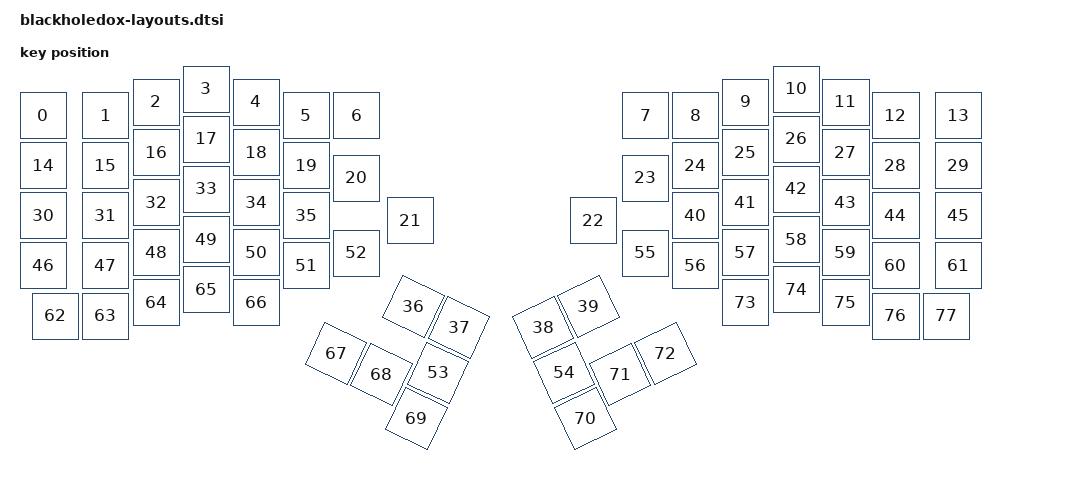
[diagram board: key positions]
// See https://zmk.dev/docs/development/hardware-integration/physical-layouts
// https://zmk-physical-layout-converter.streamlit.app/?layout=H4sIAAAAAAACA42VwY7TQAyG7_sUUc_LaDyeGXu4cUfiAgeEOHBHQiqsxKrqu-OkbeJ07ZpTm-jrX4_9xTk9TdPh54_XXy9_fh_eTye5lBsfP3z99OXzer0icufb9c40nabDX7mRU36eDq_Lt1b6dH6-JyCVhgFThOkrUzoaDAozViYbRJVfQpDS5H4NqunC9OhUJeVWIggFipiqGbtoaMI8Pjv0lKMOAmnGKYdTNKxt5CDECEbuMXrkMDc8GDmknDEYupejh-7Vo4cOidhAKGHlK1JSx2IdHdbuuIhWx_krbY7b5aoZ--Q7c7wWanfcINKMU9Dmjodk1Z1md0e54zHaHfneOXBHGp5b4I6Xo93x6qFUbzE14TyT40y35bDHCzFm4nhB2CpGmge8phChEcOJF2bJkcrIHOfWZJ3zTgcJ0_4jZ2R-e659EKSaOTiattmde9WMPYudzd5Qtc1uEGnGKWiz2UO2RqMQNbDZY7TNYi1BYLM0M3Ngs5ejbfbq0ZtQcriaxvO4TaulzsWUFccqWU_AxZasFjSS7nUdC_U4Sy9Wr3Ltoju1qhm7kzsXvZFoF90g0oxT0Oaih8hLv21LqCEFNnqMtlGMohrYKK0CCGz0clrivllUeBgW9YRdrSpi--VNVNcgAjRXcFmYq0IF0N7kdKu6p3ZZ2m93Oa3LXIY3wPaaKxlJ99sTF-pxlrxNq3W8fZbYX8MDClUbGj2_zxoNo67rx8Qb8e4x8VzRj4kbRJpx_GZhaA9dme_L53x1fjr_AwnYpfX3DAAA
// for how to configure this.
#include <physical_layouts.dtsi>

/ {
    physical_layout0: physical_layout_0 {
        compatible = "zmk,physical-layout";
        display-name = "LAYOUT";

        kscan = <&kscan0>;
        transform = <&matrix_transform0>;

        keys  //                     w   h    x    y     rot    rx    ry
            = <&key_physical_attrs 100 100    0   53       0     0     0>
            , <&key_physical_attrs 100 100  125   53       0     0     0>
            , <&key_physical_attrs 100 100  226   26       0     0     0>
            , <&key_physical_attrs 100 100  326    0       0     0     0>
            , <&key_physical_attrs 100 100  426   26       0     0     0>
            , <&key_physical_attrs 100 100  526   53       0     0     0>
            , <&key_physical_attrs 100 100  627   53       0     0     0>
            , <&key_physical_attrs 100 100 1205   53       0     0     0>
            , <&key_physical_attrs 100 100 1305   53       0     0     0>
            , <&key_physical_attrs 100 100 1405   26       0     0     0>
            , <&key_physical_attrs 100 100 1506    0       0     0     0>
            , <&key_physical_attrs 100 100 1606   26       0     0     0>
            , <&key_physical_attrs 100 100 1706   53       0     0     0>
            , <&key_physical_attrs 100 100 1830   53       0     0     0>
            , <&key_physical_attrs 100 100    0  153       0     0     0>
            , <&key_physical_attrs 100 100  125  153       0     0     0>
            , <&key_physical_attrs 100 100  226  127       0     0     0>
            , <&key_physical_attrs 100 100  326  100       0     0     0>
            , <&key_physical_attrs 100 100  426  127       0     0     0>
            , <&key_physical_attrs 100 100  526  153       0     0     0>
            , <&key_physical_attrs 100 100  627  178       0     0     0>
            , <&key_physical_attrs 100 100  735  263       0     0     0>
            , <&key_physical_attrs 100 100 1100  263       0     0     0>
            , <&key_physical_attrs 100 100 1205  178       0     0     0>
            , <&key_physical_attrs 100 100 1305  153       0     0     0>
            , <&key_physical_attrs 100 100 1405  127       0     0     0>
            , <&key_physical_attrs 100 100 1506  100       0     0     0>
            , <&key_physical_attrs 100 100 1606  127       0     0     0>
            , <&key_physical_attrs 100 100 1706  153       0     0     0>
            , <&key_physical_attrs 100 100 1830  153       0     0     0>
            , <&key_physical_attrs 100 100    0  253       0     0     0>
            , <&key_physical_attrs 100 100  125  253       0     0     0>
            , <&key_physical_attrs 100 100  226  227       0     0     0>
            , <&key_physical_attrs 100 100  326  200       0     0     0>
            , <&key_physical_attrs 100 100  426  227       0     0     0>
            , <&key_physical_attrs 100 100  526  253       0     0     0>
            , <&key_physical_attrs 100 100  741  435    2500   791   485>
            , <&key_physical_attrs 100 100  832  477    2500   882   527>
            , <&key_physical_attrs 100 100 1000  477 (-2500)  1050   527>
            , <&key_physical_attrs 100 100 1091  435 (-2500)  1141   485>
            , <&key_physical_attrs 100 100 1305  253       0     0     0>
            , <&key_physical_attrs 100 100 1405  227       0     0     0>
            , <&key_physical_attrs 100 100 1506  200       0     0     0>
            , <&key_physical_attrs 100 100 1606  227       0     0     0>
            , <&key_physical_attrs 100 100 1706  253       0     0     0>
            , <&key_physical_attrs 100 100 1830  253       0     0     0>
            , <&key_physical_attrs 100 100    0  353       0     0     0>
            , <&key_physical_attrs 100 100  125  353       0     0     0>
            , <&key_physical_attrs 100 100  226  327       0     0     0>
            , <&key_physical_attrs 100 100  326  301       0     0     0>
            , <&key_physical_attrs 100 100  426  327       0     0     0>
            , <&key_physical_attrs 100 100  526  353       0     0     0>
            , <&key_physical_attrs 100 100  627  328       0     0     0>
            , <&key_physical_attrs 100 100  790  568    2500   840   618>
            , <&key_physical_attrs 100 100 1042  568 (-2500)  1092   618>
            , <&key_physical_attrs 100 100 1205  328       0     0     0>
            , <&key_physical_attrs 100 100 1305  353       0     0     0>
            , <&key_physical_attrs 100 100 1405  327       0     0     0>
            , <&key_physical_attrs 100 100 1506  301       0     0     0>
            , <&key_physical_attrs 100 100 1606  327       0     0     0>
            , <&key_physical_attrs 100 100 1706  353       0     0     0>
            , <&key_physical_attrs 100 100 1830  353       0     0     0>
            , <&key_physical_attrs 100 100   25  454       0     0     0>
            , <&key_physical_attrs 100 100  125  454       0     0     0>
            , <&key_physical_attrs 100 100  226  427       0     0     0>
            , <&key_physical_attrs 100 100  326  401       0     0     0>
            , <&key_physical_attrs 100 100  426  427       0     0     0>
            , <&key_physical_attrs 100 100  586  529    2500   636   579>
            , <&key_physical_attrs 100 100  677  571    2500   727   621>
            , <&key_physical_attrs 100 100  747  659    2500   797   709>
            , <&key_physical_attrs 100 100 1085  659 (-2500)  1135   709>
            , <&key_physical_attrs 100 100 1154  571 (-2500)  1204   621>
            , <&key_physical_attrs 100 100 1245  529 (-2500)  1295   579>
            , <&key_physical_attrs 100 100 1405  427       0     0     0>
            , <&key_physical_attrs 100 100 1506  401       0     0     0>
            , <&key_physical_attrs 100 100 1606  427       0     0     0>
            , <&key_physical_attrs 100 100 1706  454       0     0     0>
            , <&key_physical_attrs 100 100 1807  454       0     0     0>
            ;
    };
};
